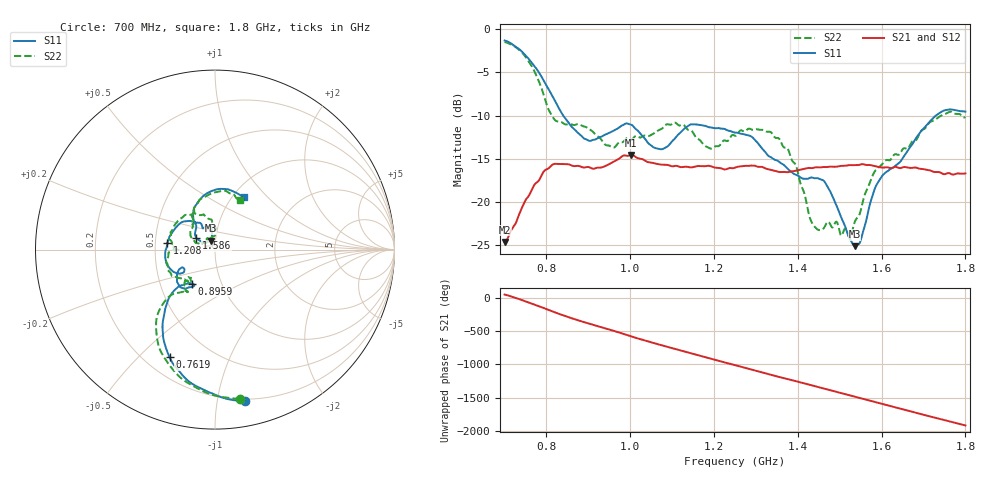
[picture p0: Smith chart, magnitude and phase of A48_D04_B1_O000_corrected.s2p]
! Created with skrf 1.9.0 (http://scikit-rf.org).
# Hz S RI R 50.0
!freq ReS11 ImS11 ReS21 ImS21 ReS12 ImS12 ReS22 ImS22
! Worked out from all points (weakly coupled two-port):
!   1601 points, 700 MHz to 1.8 GHz, reference 50 ohm
!   highest |S21| = -14.56 dB at 1.002 GHz (marker M1); lowest = -24.6 dB at 700 MHz (marker M2)
!   lowest |S11| = -25.1 dB at 1.535 GHz (marker M3), VSWR 1.12, Z = 47.3 + j4.72 ohm
!   |S11| at or under -10 dB: 839.8 MHz to 1.73 GHz (889.8 MHz wide, 69.3 % of centre)
!   |S22| runs from -24.1 to -1.5 dB; largest |S21 - S12| = 0.0034
!   S11 on the Smith chart (normalised r, x): 700 MHz: 0.19, -1.20; 761.9 MHz: 0.30, -0.62; 895.9 MHz: 0.72, -0.29; 1.208 GHz: 0.58, +0.04; 1.586 GHz: 0.80, +0.11; 1.8 GHz: 1.13, +0.74
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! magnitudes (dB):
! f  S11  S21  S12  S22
! 700 MHz  -1.3  -24.6  -24.4  -1.5
! 761.9 MHz  -3.7  -18.9  -18.8  -4.1
! 818.2 MHz  -8.1  -15.6  -15.7  -10.4
! 883.6 MHz  -12.4  -15.9  -15.8  -11.2
! 895.9 MHz  -12.8  -15.9  -16.0  -11.4
! 957.1 MHz  -11.8  -15.4  -15.4  -13.7
! 1.002 GHz  -11.1  -14.6  -14.7  -12.7
! 1.067 GHz  -13.8  -15.6  -15.6  -11.7
! 1.143 GHz  -11.0  -16.0  -16.0  -11.7
! 1.208 GHz  -11.4  -16.0  -16.1  -13.5
! 1.25 GHz  -12.0  -16.0  -16.0  -12.3
! 1.355 GHz  -15.3  -16.5  -16.4  -12.7
! 1.396 GHz  -16.9  -16.4  -16.4  -15.8
! 1.434 GHz  -17.2  -16.1  -16.0  -22.4
! 1.467 GHz  -17.9  -16.0  -15.9  -22.6
! 1.524 GHz  -24.2  -15.7  -15.7  -24.1
! 1.535 GHz  -25.1  -15.7  -15.7  -22.4
! 1.55 GHz  -24.4  -15.6  -15.7  -20.9
! 1.586 GHz  -18.2  -15.9  -15.9  -16.3
! 1.617 GHz  -16.3  -16.0  -16.0  -15.2
! 1.732 GHz  -9.9  -16.5  -16.5  -10.3
! 1.8 GHz  -9.5  -16.7  -16.7  -10.2
